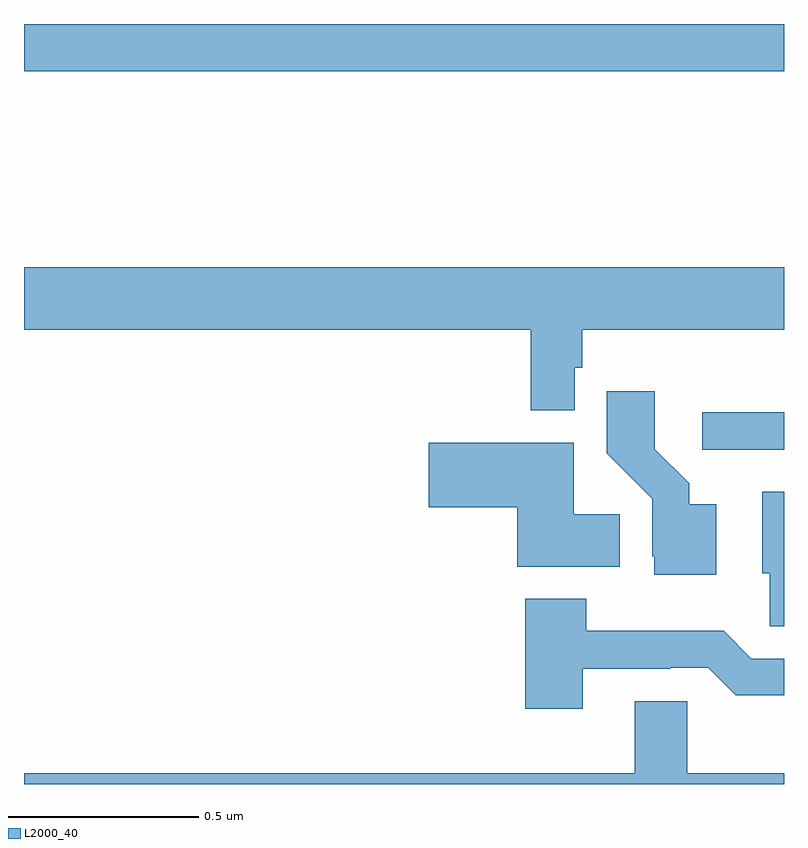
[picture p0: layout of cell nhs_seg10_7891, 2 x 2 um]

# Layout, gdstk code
import gdstk
lib = gdstk.Library(unit=1e-6, precision=1e-09)
def R(c, l, rs):  # rectangles x0, y0, x1, y1
    for r in rs: c.add(gdstk.rectangle(r[:2], r[2:], *l))
def P(c, l, *ps):  # polygons
    for p in ps: c.add(gdstk.Polygon(p, *l))
L2000_40 = (2000, 40)

nhs_seg10_7891 = lib.new_cell('nhs_seg10_7891')
R(nhs_seg10_7891, L2000_40, [(211.785,1253.379,212,1253.478), (210,1254.376,212,1254.5)])
P(nhs_seg10_7891, L2000_40, [(211.449,1253.595),(211.469,1253.595),(211.469,1253.696),(212,1253.696),(212,1253.86),(210,1253.86),(210,1253.696),(211.333,1253.696),(211.333,1253.483),(211.449,1253.483)],
  [(211.822,1253.236),(211.75,1253.236),(211.75,1253.291),(211.66,1253.381),(211.66,1253.533),(211.534,1253.533),(211.534,1253.37),(211.653,1253.251),(211.653,1253.1),(211.658,1253.1),(211.658,1253.051),(211.822,1253.051)],
  [(211.568,1253.21),(211.447,1253.21),(211.447,1253.398),(211.065,1253.398),(211.065,1253.228),(211.298,1253.228),(211.298,1253.072),(211.568,1253.072)],
  [(212,1253.269),(211.943,1253.269),(211.943,1253.055),(211.962,1253.055),(211.962,1252.915),(212,1252.915)],
  [(211.471,1252.803),(211.7,1252.803),(211.7,1252.806),(211.8,1252.806),(211.873,1252.733),(212,1252.733),(212,1252.83),(211.914,1252.83),(211.841,1252.903),(211.479,1252.903),(211.479,1252.987),(211.319,1252.987),(211.319,1252.698),(211.471,1252.698)],
  [(210,1252.5),(212,1252.5),(212,1252.528),(211.746,1252.528),(211.746,1252.718),(211.607,1252.718),(211.607,1252.528),(210,1252.528)])

lib.write_gds('nhs_seg10_7891.gds')
